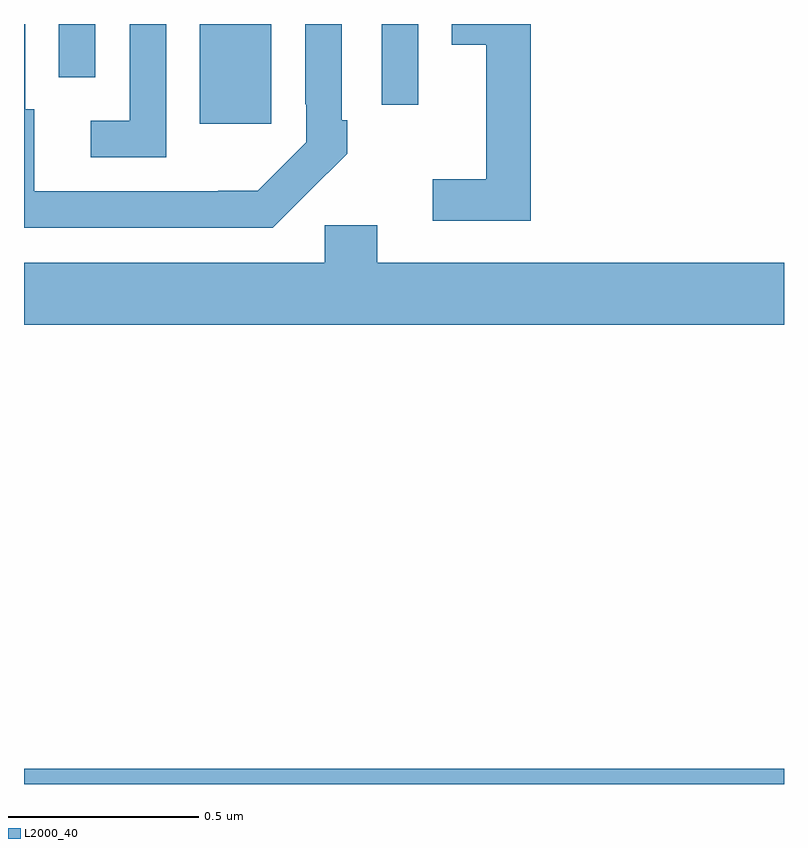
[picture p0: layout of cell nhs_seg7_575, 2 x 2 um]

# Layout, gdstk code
import gdstk
lib = gdstk.Library(unit=1e-6, precision=1e-09)
def R(c, l, rs):  # rectangles x0, y0, x1, y1
    for r in rs: c.add(gdstk.rectangle(r[:2], r[2:], *l))
def P(c, l, *ps):  # polygons
    for p in ps: c.add(gdstk.Polygon(p, *l))
L2000_40 = (2000, 40)

nhs_seg7_575 = lib.new_cell('nhs_seg7_575')
R(nhs_seg7_575, L2000_40, [(118,1074,120,1074.04), (118.463,1075.737,118.651,1076), (118.941,1075.788,119.037,1076), (118.092,1075.86,118.188,1076)])
P(nhs_seg7_575, L2000_40, [(119.333,1076),(119.126,1076),(119.126,1075.946),(119.216,1075.946),(119.216,1075.591),(119.076,1075.591),(119.076,1075.482),(119.333,1075.482)],
  [(118.374,1076),(118.278,1076),(118.278,1075.746),(118.176,1075.746),(118.176,1075.65),(118.374,1075.65)],
  [(118.745,1075.555),(118.746,1075.554),(118.851,1075.659),(118.851,1075.747),(118.836,1075.747),(118.836,1076),(118.74,1076),(118.74,1075.789),(118.743,1075.789),(118.743,1075.689),(118.615,1075.561),(118.511,1075.561),(118.511,1075.56),(118.027,1075.56),(118.027,1075.776),(118.003,1075.776),(118.003,1076),(118,1076),(118,1075.464),(118.654,1075.464)],
  [(120,1075.372),(118.93,1075.372),(118.93,1075.47),(118.791,1075.47),(118.791,1075.372),(118,1075.372),(118,1075.208),(120,1075.208)])

lib.write_gds('nhs_seg7_575.gds')
